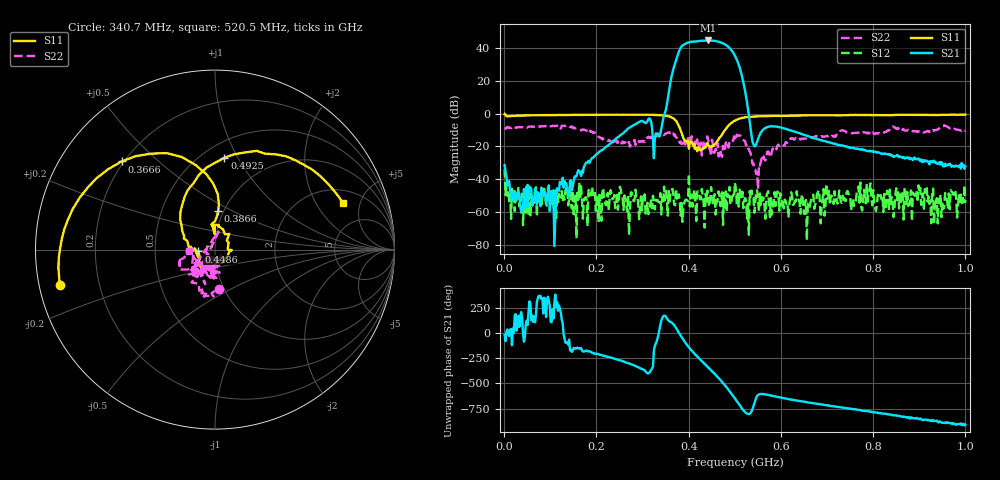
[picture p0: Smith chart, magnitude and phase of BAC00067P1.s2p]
!measured: 2026-10-27T15:04:51
!cal_instance: BBtestOct27
!cal_created: 2026-10-27T14:45
!cal_file: BBtesting.cal
!port1_delay_ps: -58.63
!port2_delay_ps: -59.31
!host: dhcp-10-250-247-203.harvard.edu
! Created with skrf 2.1.0 (http://scikit-rf.org).
# Hz S RI R 50.0
!freq ReS11 ImS11 ReS21 ImS21 ReS12 ImS12 ReS22 ImS22
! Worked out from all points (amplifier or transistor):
!   501 points, 1 MHz to 1 GHz, reference 50 ohm
!   highest |S21| = 44.6 dB at 442.6 MHz (marker M1)
!   |S21| within 3 dB of that: 387.1 MHz to 482 MHz (94.93 MHz wide, 21.8 % of centre)
!   unconditionally stable (mu >= 1): start of sweep to 400 MHz; 401.1 MHz to 448.5 MHz; 501 MHz to end of sweep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
!   at 166.8 MHz: K = 1087.76, MAG = -30.3 dB, |S12| = -44.4 dB
!   at 500.5 MHz: K = 0.90, MSG = 38.7 dB, |S12| = -42.2 dB
!   at 1 GHz: K = 1485.09, MAG = -23.6 dB, |S12| = -54.5 dB
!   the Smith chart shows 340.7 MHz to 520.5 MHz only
!   S11 on the Smith chart (normalised r, x): 340.7 MHz: 0.06, -0.11; 366.6 MHz: 0.19, +0.38; 386.6 MHz: 0.94, +0.42; 448.6 MHz: 0.83, -0.02; 492.5 MHz: 0.63, +0.88; 520.5 MHz: 2.86, +3.48
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1000000  -0.386 0.8854  0.0256 -0.00707  -0.0173 0.0101  0.3501 -0.0835
1.68832e8  0.4958 -0.7603  -0.018 -0.00181  -0.00221 -0.000111  -0.0301 -0.3206
3.34666e8  -0.8377 -0.327  0.1976 -0.0453  -0.000501 -0.00192  0.0767 -0.2304
3.4066e8  -0.8645 -0.2  -0.1844 0.2852  0.000663 0.000502  0.0206 -0.2201
3.66634e8  -0.5206 0.491  -0.3735 22.15  -0.00138 0.00326  -0.0869 -0.2291
3.76624e8  -0.1089 0.4717  58.57 23.27  0.00266 0.00167  -0.1317 -0.1054
3.86614e8  0.0177 0.2133  74.4 -92.74  0.000489 6.47e-05  -0.1287 -0.0877
3.96604e8  -0.0156 0.1314  -68.12 -125.2  -0.00215 0.000705  -0.093 -0.0812
4.04596e8  0.0218 0.1364  -147.3 -45.57  0.00114 -0.0028  -0.0992 -0.0598
4.1059e8  0.0556 0.0855  -152.7 36.8  -0.00232 -0.00183  -0.0278 -0.1138
4.26574e8  0.052 -0.053  -4.731 164.9  -0.000408 0.00239  -0.0747 -0.1063
4.42558e8  -0.0879 -0.0662  160.1 56.67  0.00093 -0.00188  -0.0851 -0.1336
4.48552e8  -0.0928 -0.00998  167.3 -23.55  -0.00282 -0.00492  -0.0507 0.00333
4.58542e8  -0.1224 -0.00631  93.46 -133.5  -0.000689 0.000444  -0.0181 -0.0816
4.66534e8  -0.1733 0.062  -11.62 -153.5  0.00337 0.00129  -0.0291 -0.0409
4.78522e8  -0.1836 0.2453  -118.7 -50.54  0.00123 8.22e-05  0.0121 -0.0691
4.92508e8  0.0528 0.512  -44.14 74.81  -0.000461 0.00182  -0.0597 -0.1269
5.005e8  0.2774 0.5347  20.45 53.66  0.00286 -0.0072  -0.1047 -0.1041
5.2048e8  0.7142 0.2579  3.716 -5.6  -0.0021 -0.000744  -0.1476 -0.00573
6.68332e8  0.067 -0.8777  0.1672 0.0744  -0.00258 0.00186  0.0324 -0.1742
8.34166e8  -0.5871 -0.6739  0.00305 -0.0582  -0.00109 -6.89e-05  -0.1763 -0.2484
1e9  -0.8842 -0.2628  -0.0238 0.00456  0.000218 -0.00187  -0.2436 -0.1791
